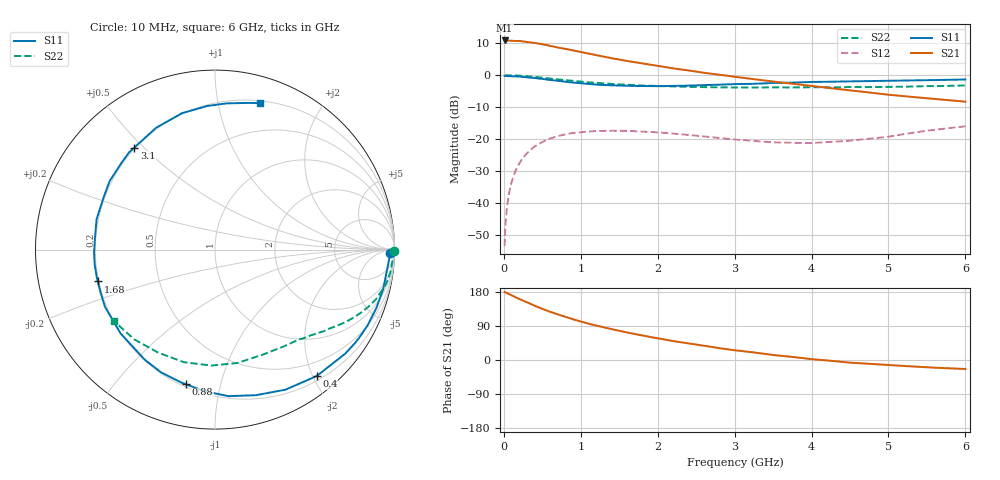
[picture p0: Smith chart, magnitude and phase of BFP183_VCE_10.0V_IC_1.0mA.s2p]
! Infineon Technologies  Discrete & RF Semiconductors
! BFP183
! VCE = 10.0V,  IC =  1.0 mA
! Common Emitter S-Parameters:  Jan 2016
# GHz  S  MA  R  50
!  f  S11  S21  S12  S22
! GHz  MAG  ANG  MAG  ANG  MAG  ANG  MAG  ANG
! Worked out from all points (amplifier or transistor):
!   210 points, 10 MHz to 6 GHz, reference 50 ohm
!   highest |S21| = 10.8 dB at 10 MHz (marker M1)
!   |S21| within 3 dB of that: start of sweep to 879.5 MHz
!   unconditionally stable (mu >= 1): 2.52 GHz to end of sweep
!   at 185 MHz: K = 0.07, MSG = 19.5 dB, |S12| = -28.3 dB
!   at 1.52 GHz: K = 0.57, MSG = 11.1 dB, |S12| = -17.4 dB
!   at 6 GHz: K = 1.02, MAG = 2.9 dB, |S12| = -16.0 dB
!   S11 on the Smith chart (normalised r, x): 10 MHz: 46, -35; 400 MHz: 0.27, -2.06; 880 MHz: 0.21, -0.79; 1.68 GHz: 0.20, -0.13; 3.1 GHz: 0.20, +0.47; 6 GHz: 0.22, +1.33
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0.01  0.9726 -1.2  3.487 179.3  0.0021 84.1  0.9989 -0.4
0.02  0.9726 -2.7  3.467 178.7  0.0043 84.6  0.9906 -0.9
0.04  0.9672 -5.4  3.472 176.4  0.0084 87.3  0.9937 -1.8
0.07  0.9629 -9.4  3.463 173.5  0.0146 84.7  0.9923 -3.1
0.105  0.9616 -14.0  3.446 170.2  0.0219 81.7  0.988 -4.7
0.2  0.9493 -26.5  3.43 161.1  0.0413 73.9  0.9807 -9.0
0.4  0.904 -51.2  3.193 143.0  0.0763 59.1  0.9394 -17.0
0.5  0.8736 -63.3  3.042 134.7  0.0898 52.3  0.9105 -20.6
0.6  0.8429 -74.2  2.891 127.3  0.1018 46.1  0.8833 -23.7
0.7  0.82 -84.8  2.703 120.4  0.1109 40.6  0.8573 -26.4
0.88  0.7677 -102.1  2.468 108.7  0.1232 31.9  0.8148 -30.6
1.02  0.7422 -115.3  2.277 100.5  0.1282 25.9  0.7848 -33.6
1.1  0.7276 -122.5  2.189 95.7  0.1311 22.9  0.7701 -35.1
1.3  0.7036 -138.4  1.943 86.2  0.1341 15.9  0.7404 -38.7
1.5  0.6909 -152.6  1.757 76.9  0.1342 10.4  0.716 -41.8
1.68  0.6768 -164.8  1.608 69.5  0.1325 6.3  0.6991 -44.8
2.02  0.6718 174.9  1.384 56.5  0.1264 0.2  0.6744 -50.0
2.4  0.6845 155.7  1.184 43.7  0.1156 -4.2  0.6565 -56.9
3.1  0.7247 128.3  0.909 23.5  0.0962 -4.1  0.6395 -70.4
4.1  0.7836 101.5  0.654 0.6  0.0878 12.3  0.6443 -94.5
5.1  0.8192 84.2  0.481 -14.6  0.1138 27.3  0.6561 -121.6
6  0.8545 72.9  0.384 -23.8  0.1578 24.8  0.6895 -144.6
